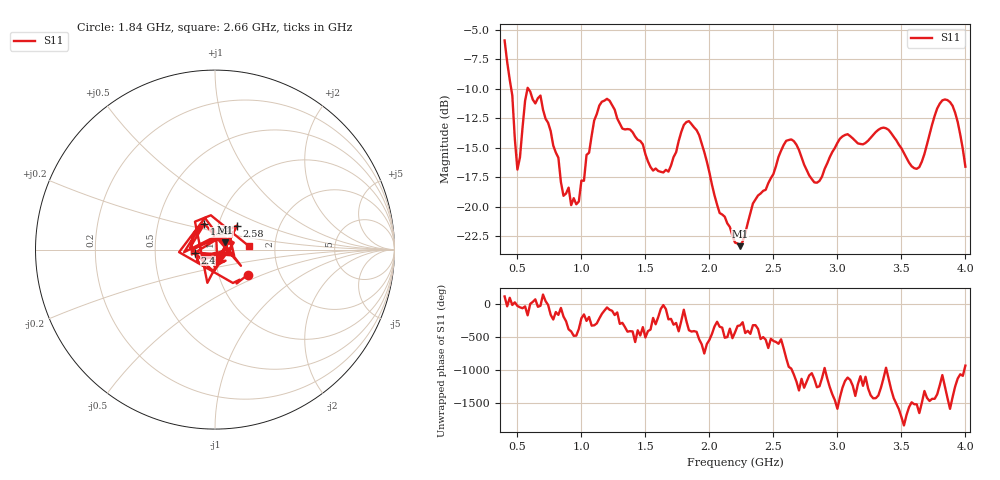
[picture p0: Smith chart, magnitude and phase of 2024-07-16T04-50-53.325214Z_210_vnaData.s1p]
!Created with skrf (http://scikit-rf.org).
# Hz S RI R 50.0
!freq ReS11 ImS11
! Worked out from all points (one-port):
!   181 points, 400 MHz to 4 GHz, reference 50 ohm
!   lowest |S11| = -23.3 dB at 2.24 GHz (marker M1), VSWR 1.15, Z = 55.6 + j4.49 ohm
!   |S11| at or under -10 dB: 451.5 MHz to 578.7 MHz (127.2 MHz wide, 24.7 % of centre); 584.6 MHz to end of sweep
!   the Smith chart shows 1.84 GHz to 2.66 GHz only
!   S11 on the Smith chart (normalised r, x): 1.84 GHz: 1.38, -0.41; 1.98 GHz: 0.86, +0.25; 2.4 GHz: 0.80, -0.03; 2.58 GHz: 1.23, +0.34; 2.66 GHz: 1.46, +0.06
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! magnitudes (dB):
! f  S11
! 400 MHz  -5.9
! 460 MHz  -10.6
! 500 MHz  -16.9
! 580 MHz  -9.9
! 680 MHz  -10.6
! 820 MHz  -15.9
! 860 MHz  -19.1
! 980 MHz  -19.6
! 1.16 GHz  -11.1
! 1.3 GHz  -13.0
! 1.56 GHz  -16.9
! 1.68 GHz  -17.0
! 1.76 GHz  -14.4
! 1.84 GHz  -12.8
! 1.98 GHz  -16.2
! 2.2 GHz  -23.0
! 2.24 GHz  -23.3
! 2.4 GHz  -18.9
! 2.58 GHz  -14.8
! 2.66 GHz  -14.5
! 2.84 GHz  -18.0
! 3.1 GHz  -14.0
! 3.38 GHz  -13.4
! 3.56 GHz  -16.3
! 3.64 GHz  -16.6
! 3.84 GHz  -10.9
! 3.92 GHz  -12.0
! 4 GHz  -16.6
